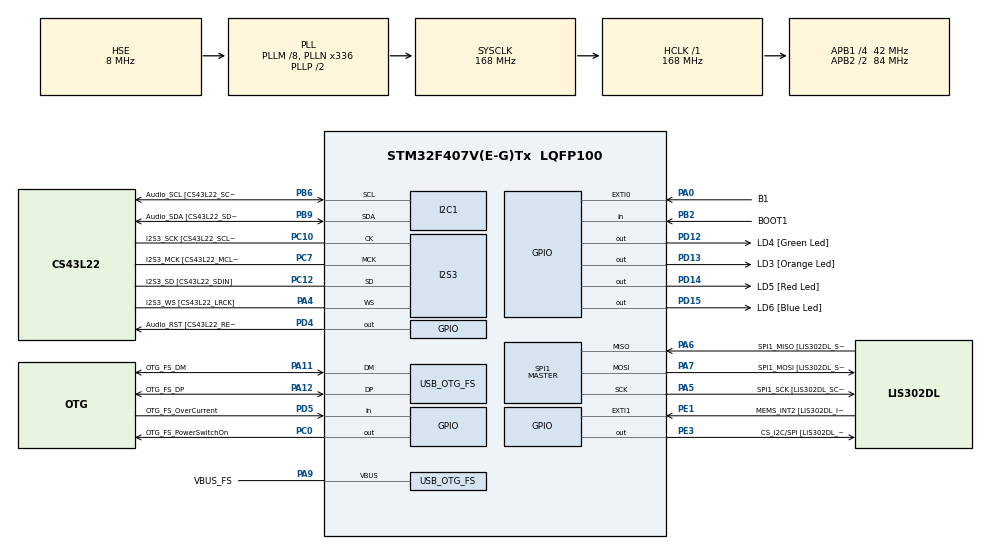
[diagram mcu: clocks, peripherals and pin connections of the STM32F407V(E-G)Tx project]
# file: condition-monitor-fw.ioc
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I2S3.AudioFreq-Half_Duplex_Master=I2S_AUDIOFREQ_96K
I2S3.ErrorAudioFreq=-2.34 %
I2S3.ErrorAudioFreq-Half_Duplex_Master=0.8 %
I2S3.FullDuplexMode=I2S_FULLDUPLEXMODE_DISABLE
I2S3.Instance=SPI$Index
I2S3.RealAudioFreq=93.75 KHz
I2S3.RealAudioFreq-Half_Duplex_Master=96.774 KHz
I2S3.VirtualMode=I2S_MODE_MASTER
Mcu.Family=STM32F4
Mcu.Name=STM32F407V(E-G)Tx
Mcu.Package=LQFP100
NVIC.EXTI0_IRQn=true\:0\:0\:false\:false\:true\:true\:true\:true
NVIC.OTG_FS_IRQn=true\:0\:0\:false\:false\:true\:true\:true\:true
NVIC.PriorityGroup=NVIC_PRIORITYGROUP_0
PA0-WKUP.GPIO_Label=B1
PA0-WKUP.Signal=GPXTI0
PA10.GPIO_Label=OTG_FS_ID
PA10.GPIO_Mode=GPIO_MODE_AF_PP
PA10.GPIO_PuPd=GPIO_NOPULL
PA10.GPIO_Speed=GPIO_SPEED_FREQ_LOW
PA10.Signal=USB_OTG_FS_ID
PA11.GPIO_Label=OTG_FS_DM
PA11.GPIO_Mode=GPIO_MODE_AF_PP
PA11.GPIO_PuPd=GPIO_NOPULL
PA11.GPIO_Speed=GPIO_SPEED_FREQ_LOW
PA11.Mode=Host_Only
PA11.Signal=USB_OTG_FS_DM
PA12.GPIO_Label=OTG_FS_DP
PA12.GPIO_Mode=GPIO_MODE_AF_PP
PA12.GPIO_PuPd=GPIO_NOPULL
PA12.GPIO_Speed=GPIO_SPEED_FREQ_LOW
PA12.Mode=Host_Only
PA12.Signal=USB_OTG_FS_DP
PA13.GPIO_Label=SWDIO
PA13.Mode=Serial_Wire
PA13.Signal=SYS_JTMS-SWDIO
PA14.GPIO_Label=SWCLK
PA14.Mode=Serial_Wire
PA14.Signal=SYS_JTCK-SWCLK
PA4.GPIO_Label=I2S3_WS [CS43L22_LRCK]
PA4.GPIO_Mode=GPIO_MODE_AF_PP
PA4.GPIO_PuPd=GPIO_NOPULL
PA4.GPIO_Speed=GPIO_SPEED_FREQ_LOW
PA4.Mode=Half_Duplex_Master
PA4.Signal=I2S3_WS
PA5.GPIO_Label=SPI1_SCK [LIS302DL_SCL/SPC]
PA5.GPIO_Mode=GPIO_MODE_AF_PP
PA5.GPIO_PuPd=GPIO_NOPULL
PA5.GPIO_Speed=GPIO_SPEED_FREQ_LOW
PA5.Mode=Full_Duplex_Master
PA5.Signal=SPI1_SCK
PA6.GPIO_Label=SPI1_MISO [LIS302DL_SDO]
PA6.GPIO_Mode=GPIO_MODE_AF_PP
PA6.GPIO_PuPd=GPIO_NOPULL
PA6.GPIO_Speed=GPIO_SPEED_FREQ_LOW
PA6.Mode=Full_Duplex_Master
PA6.Signal=SPI1_MISO
PA7.GPIO_Label=SPI1_MOSI [LIS302DL_SDA/SDI/SDO]
PA7.GPIO_Mode=GPIO_MODE_AF_PP
PA7.GPIO_PuPd=GPIO_NOPULL
PA7.GPIO_Speed=GPIO_SPEED_FREQ_LOW
PA7.Mode=Full_Duplex_Master
PA7.Signal=SPI1_MOSI
PA9.GPIO_Label=VBUS_FS
PA9.GPIO_Mode=GPIO_MODE_INPUT
PA9.GPIO_PuPd=GPIO_NOPULL
PA9.Mode=Activate_VBUS
PA9.Signal=USB_OTG_FS_VBUS
PB10.GPIO_Label=CLK_IN [MP45DT02_CLK]
PB10.GPIO_Mode=GPIO_MODE_AF_PP
PB10.GPIO_PuPd=GPIO_NOPULL
PB10.GPIO_Speed=GPIO_SPEED_FREQ_LOW
PB10.Signal=I2S2_CK
PB2.GPIO_Label=BOOT1
PB2.GPIO_Mode=GPIO_MODE_INPUT
PB2.GPIO_PuPd=GPIO_NOPULL
PB2.Signal=GPIO_Input
PB3.GPIO_Label=SWO
PB3.Signal=SYS_JTDO-SWO
PB6.GPIO_Label=Audio_SCL [CS43L22_SCL]
PB6.GPIO_Mode=GPIO_MODE_AF_OD
PB6.GPIO_Pu=GPIO_PULLUP
PB6.GPIO_PuPd=GPIO_NOPULL
PB6.GPIO_Speed=GPIO_SPEED_FREQ_LOW
PB6.Mode=I2C
PB6.Signal=I2C1_SCL
PB9.GPIO_Label=Audio_SDA [CS43L22_SDA]
PB9.GPIO_Mode=GPIO_MODE_AF_OD
PB9.GPIO_Pu=GPIO_PULLUP
PB9.GPIO_PuPd=GPIO_NOPULL
PB9.GPIO_Speed=GPIO_SPEED_FREQ_LOW
PB9.Mode=I2C
PB9.Signal=I2C1_SDA
PC0.GPIO_Label=OTG_FS_PowerSwitchOn
PC0.GPIO_PuPd=GPIO_NOPULL
PC0.GPIO_Speed=GPIO_SPEED_FREQ_LOW
PC0.PinState=GPIO_PIN_SET
PC0.Signal=GPIO_Output
PC10.GPIO_Label=I2S3_SCK [CS43L22_SCLK]
PC10.GPIO_Mode=GPIO_MODE_AF_PP
PC10.GPIO_PuPd=GPIO_NOPULL
PC10.GPIO_Speed=GPIO_SPEED_FREQ_LOW
PC10.Mode=Half_Duplex_Master
PC10.Signal=I2S3_CK
PC12.GPIO_Label=I2S3_SD [CS43L22_SDIN]
PC12.GPIO_Mode=GPIO_MODE_AF_PP
PC12.GPIO_PuPd=GPIO_NOPULL
PC12.GPIO_Speed=GPIO_SPEED_FREQ_LOW
PC12.Mode=Half_Duplex_Master
PC12.Signal=I2S3_SD
PC14-OSC32_IN.GPIO_Label=PC14-OSC32_IN
PC14-OSC32_IN.Mode=LSE-External-Oscillator
PC14-OSC32_IN.Signal=RCC_OSC32_IN
PC15-OSC32_OUT.GPIO_Label=PC15-OSC32_OUT
PC15-OSC32_OUT.Mode=LSE-External-Oscillator
PC15-OSC32_OUT.Signal=RCC_OSC32_OUT
PC3.GPIO_Label=PDM_OUT [MP45DT02_DOUT]
PC3.GPIO_Mode=GPIO_MODE_AF_PP
PC3.GPIO_PuPd=GPIO_NOPULL
PC3.GPIO_Speed=GPIO_SPEED_FREQ_LOW
PC3.Signal=I2S2_SD
PC7.GPIO_Label=I2S3_MCK [CS43L22_MCLK]
PC7.GPIO_Mode=GPIO_MODE_AF_PP
PC7.GPIO_PuPd=GPIO_NOPULL
PC7.GPIO_Speed=GPIO_SPEED_FREQ_LOW
PC7.Mode=Master_Clock_Activated
PC7.Signal=I2S3_MCK
PD12.GPIO_Label=LD4 [Green Led]
PD12.GPIO_PuPd=GPIO_NOPULL
PD12.GPIO_Speed=GPIO_SPEED_FREQ_LOW
PD12.Signal=GPIO_Output
PD13.GPIO_Label=LD3 [Orange Led]
PD13.GPIO_PuPd=GPIO_NOPULL
PD13.GPIO_Speed=GPIO_SPEED_FREQ_LOW
PD13.Signal=GPIO_Output
PD14.GPIO_Label=LD5 [Red Led]
PD14.GPIO_PuPd=GPIO_NOPULL
PD14.GPIO_Speed=GPIO_SPEED_FREQ_LOW
PD14.Signal=GPIO_Output
PD15.GPIO_Label=LD6 [Blue Led]
PD15.GPIO_PuPd=GPIO_NOPULL
PD15.GPIO_Speed=GPIO_SPEED_FREQ_LOW
PD15.Signal=GPIO_Output
PD4.GPIO_Label=Audio_RST [CS43L22_RESET]
PD4.GPIO_PuPd=GPIO_NOPULL
PD4.GPIO_Speed=GPIO_SPEED_FREQ_LOW
PD4.Signal=GPIO_Output
PD5.GPIO_Label=OTG_FS_OverCurrent
PD5.GPIO_Mode=GPIO_MODE_INPUT
PD5.GPIO_PuPd=GPIO_NOPULL
PD5.Signal=GPIO_Input
PE1.GPIO_Label=MEMS_INT2 [LIS302DL_INT2]
PE1.GPIO_ModeDefaultEXTI=GPIO_MODE_EVT_RISING
PE1.GPIO_PuPd=GPIO_NOPULL
PE1.Signal=GPXTI1
PE3.GPIO_Label=CS_I2C/SPI [LIS302DL_CS_I2C/SPI]
PE3.GPIO_PuPd=GPIO_NOPULL
PE3.GPIO_Speed=GPIO_SPEED_FREQ_LOW
PE3.Signal=GPIO_Output
PH0-OSC_IN.GPIO_Label=PH0-OSC_IN
PH0-OSC_IN.Mode=HSE-External-Oscillator
PH0-OSC_IN.Signal=RCC_OSC_IN
PH1-OSC_OUT.GPIO_Label=PH1-OSC_OUT
PH1-OSC_OUT.Mode=HSE-External-Oscillator
PH1-OSC_OUT.Signal=RCC_OSC_OUT
ProjectManager.HeapSize=0x200
ProjectManager.StackSize=0x400
ProjectManager.TargetToolchain=STM32CubeIDE
RCC.48MHZClocksFreq_Value=48000000
RCC.AHBFreq_Value=168000000
RCC.APB1CLKDivider=RCC_HCLK_DIV4
RCC.APB1Freq_Value=42000000
RCC.APB1TimFreq_Value=84000000
RCC.APB2CLKDivider=RCC_HCLK_DIV2
RCC.APB2Freq_Value=84000000
RCC.APB2TimFreq_Value=168000000
RCC.CortexFreq_Value=168000000
RCC.HCLKFreq_Value=168000000
RCC.HSE_VALUE=8000000
RCC.HSI_VALUE=16000000
RCC.PLLM=8
RCC.PLLN=336
RCC.PLLQ=7
RCC.SYSCLKFreq_VALUE=168000000
RCC.SYSCLKSource=RCC_SYSCLKSOURCE_PLLCLK
RCC.VCOOutputFreq_Value=336000000
SPI1.BaudRatePrescaler-Full_Duplex_Master=SPI_BAUDRATEPRESCALER_2
SPI1.CalculateBaudRate-Full_Duplex_Master=42.0 MBits/s
SPI1.Direction=SPI_DIRECTION_2LINES
SPI1.Mode=SPI_MODE_MASTER
SPI1.Mode-Full_Duplex_Master=SPI_MODE_MASTER
SPI1.VirtualType=VM_MASTER
USB_HOST.BSP.number=1
USB_HOST.USBH_HandleTypeDef-CDC_FS=hUsbHostFS
USB_HOST.VirtualModeFS=Cdc
USB_HOST0.BSP.STBoard=false
USB_HOST0.BSP.api=Unknown
USB_HOST0.BSP.instance=PC0
USB_HOST0.BSP.ip=GPIO
USB_HOST0.BSP.mode=Output
USB_HOST0.BSP.name=Drive_VBUS_FS
USB_HOST0.BSP.solution=PC0
USB_OTG_FS.VirtualMode=Host_Only
USB_OTG_FS.phy_itface=HCD_PHY_EMBEDDED
VP_USB_HOST_VS_USB_HOST_CDC_FS.Mode=CDC_FS
board=STM32F407G-DISC1

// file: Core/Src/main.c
/* USER CODE BEGIN Header */
/**
  ******************************************************************************
  * @file           : main.c
  * @brief          : Main program body
  ******************************************************************************
  * @attention
  *
  * Copyright (c) 2026 STMicroelectronics.
  * All rights reserved.
  *
  * This software is licensed under terms that can be found in the LICENSE file
  * in the root directory of this software component.
  * If no LICENSE file comes with this software, it is provided AS-IS.
  *
  ******************************************************************************
  */
/* USER CODE END Header */
#include "main.h"
#include "usb_host.h"
#include <stdio.h>

I2C_HandleTypeDef hi2c1;

I2S_HandleTypeDef hi2s3;

SPI_HandleTypeDef hspi1;

/* USER CODE BEGIN PV */
volatile uint8_t buttonPressed = 0;
volatile uint32_t lastPressTime = 0;
uint32_t pressCount = 0;

/* USER CODE END PV */

void SystemClock_Config(void);
static void MX_GPIO_Init(void);
static void MX_I2C1_Init(void);
static void MX_I2S3_Init(void);
static void MX_SPI1_Init(void);
void MX_USB_HOST_Process(void);

int main(void)
{

  /* MCU Configuration--------------------------------------------------------*/

  /* Reset of all peripherals, Initializes the Flash interface and the Systick. */
  HAL_Init();

  /* Configure the system clock */
  SystemClock_Config();

  /* Initialize all configured peripherals */
  MX_GPIO_Init();
  MX_I2C1_Init();
  MX_I2S3_Init();
  MX_SPI1_Init();
  MX_USB_HOST_Init();
  /* USER CODE BEGIN 2 */
  const uint16_t leds[4] = {LD4_Pin, LD3_Pin, LD5_Pin, LD6_Pin};
  uint32_t lastTick = 0;
  uint8_t idx = 0;

  /* USER CODE END 2 */

  /* Infinite loop */
  while (1)
  {
    MX_USB_HOST_Process();

    /* USER CODE BEGIN 3 */
    // Move the light every 200 milliseconds, without freezing the program
    if (HAL_GetTick() - lastTick >= 200)
    {
      lastTick = HAL_GetTick();
      HAL_GPIO_WritePin(GPIOD, LD4_Pin|LD3_Pin|LD5_Pin|LD6_Pin, GPIO_PIN_RESET);
      HAL_GPIO_WritePin(GPIOD, leds[idx], GPIO_PIN_SET);
      idx = (idx + 1) % 4;
    }

    // While the blue button is pressed, switch all four LEDs on
    if (buttonPressed)
    {
      buttonPressed = 0;
      pressCount++;
      printf("Button pressed %lu times\n", (unsigned long)pressCount);
    }
  }
  /* USER CODE END 3 */
}

void SystemClock_Config(void)
{
  RCC_OscInitTypeDef RCC_OscInitStruct = {0};
  RCC_ClkInitTypeDef RCC_ClkInitStruct = {0};

  /** Configure the main internal regulator output voltage
  */
  __HAL_RCC_PWR_CLK_ENABLE();
  __HAL_PWR_VOLTAGESCALING_CONFIG(PWR_REGULATOR_VOLTAGE_SCALE1);

  /** Initializes the RCC Oscillators according to the specified parameters
  * in the RCC_OscInitTypeDef structure.
  */
  RCC_OscInitStruct.OscillatorType = RCC_OSCILLATORTYPE_HSE;
  RCC_OscInitStruct.HSEState = RCC_HSE_ON;
  RCC_OscInitStruct.PLL.PLLState = RCC_PLL_ON;
  RCC_OscInitStruct.PLL.PLLSource = RCC_PLLSOURCE_HSE;
  RCC_OscInitStruct.PLL.PLLM = 8;
  RCC_OscInitStruct.PLL.PLLN = 336;
  RCC_OscInitStruct.PLL.PLLP = RCC_PLLP_DIV2;
  RCC_OscInitStruct.PLL.PLLQ = 7;
  if (HAL_RCC_OscConfig(&RCC_OscInitStruct) != HAL_OK)
  {
    Error_Handler();
  }

  /** Initializes the CPU, AHB and APB buses clocks
  */
  RCC_ClkInitStruct.ClockType = RCC_CLOCKTYPE_HCLK|RCC_CLOCKTYPE_SYSCLK
                              |RCC_CLOCKTYPE_PCLK1|RCC_CLOCKTYPE_PCLK2;
  RCC_ClkInitStruct.SYSCLKSource = RCC_SYSCLKSOURCE_PLLCLK;
  RCC_ClkInitStruct.AHBCLKDivider = RCC_SYSCLK_DIV1;
  RCC_ClkInitStruct.APB1CLKDivider = RCC_HCLK_DIV4;
  RCC_ClkInitStruct.APB2CLKDivider = RCC_HCLK_DIV2;

  if (HAL_RCC_ClockConfig(&RCC_ClkInitStruct, FLASH_LATENCY_5) != HAL_OK)
  {
    Error_Handler();
  }
}

static void MX_I2C1_Init(void)
{

  hi2c1.Instance = I2C1;
  hi2c1.Init.ClockSpeed = 100000;
  hi2c1.Init.DutyCycle = I2C_DUTYCYCLE_2;
  hi2c1.Init.OwnAddress1 = 0;
  hi2c1.Init.AddressingMode = I2C_ADDRESSINGMODE_7BIT;
  hi2c1.Init.DualAddressMode = I2C_DUALADDRESS_DISABLE;
  hi2c1.Init.OwnAddress2 = 0;
  hi2c1.Init.GeneralCallMode = I2C_GENERALCALL_DISABLE;
  hi2c1.Init.NoStretchMode = I2C_NOSTRETCH_DISABLE;
  if (HAL_I2C_Init(&hi2c1) != HAL_OK)
  {
    Error_Handler();
  }

}

static void MX_I2S3_Init(void)
{

  hi2s3.Instance = SPI3;
  hi2s3.Init.Mode = I2S_MODE_MASTER_TX;
  hi2s3.Init.Standard = I2S_STANDARD_PHILIPS;
  hi2s3.Init.DataFormat = I2S_DATAFORMAT_16B;
  hi2s3.Init.MCLKOutput = I2S_MCLKOUTPUT_ENABLE;
  hi2s3.Init.AudioFreq = I2S_AUDIOFREQ_96K;
  hi2s3.Init.CPOL = I2S_CPOL_LOW;
  hi2s3.Init.ClockSource = I2S_CLOCK_PLL;
  hi2s3.Init.FullDuplexMode = I2S_FULLDUPLEXMODE_DISABLE;
  if (HAL_I2S_Init(&hi2s3) != HAL_OK)
  {
    Error_Handler();
  }

}

static void MX_SPI1_Init(void)
{

  /* SPI1 parameter configuration*/
  hspi1.Instance = SPI1;
  hspi1.Init.Mode = SPI_MODE_MASTER;
  hspi1.Init.Direction = SPI_DIRECTION_2LINES;
  hspi1.Init.DataSize = SPI_DATASIZE_8BIT;
  hspi1.Init.CLKPolarity = SPI_POLARITY_LOW;
  hspi1.Init.CLKPhase = SPI_PHASE_1EDGE;
  hspi1.Init.NSS = SPI_NSS_SOFT;
  hspi1.Init.BaudRatePrescaler = SPI_BAUDRATEPRESCALER_2;
  hspi1.Init.FirstBit = SPI_FIRSTBIT_MSB;
  hspi1.Init.TIMode = SPI_TIMODE_DISABLE;
  hspi1.Init.CRCCalculation = SPI_CRCCALCULATION_DISABLE;
  hspi1.Init.CRCPolynomial = 10;
  if (HAL_SPI_Init(&hspi1) != HAL_OK)
  {
    Error_Handler();
  }

}

static void MX_GPIO_Init(void)
{
  GPIO_InitTypeDef GPIO_InitStruct = {0};

  /* GPIO Ports Clock Enable */
  __HAL_RCC_GPIOE_CLK_ENABLE();
  __HAL_RCC_GPIOC_CLK_ENABLE();
  __HAL_RCC_GPIOH_CLK_ENABLE();
  __HAL_RCC_GPIOA_CLK_ENABLE();
  __HAL_RCC_GPIOB_CLK_ENABLE();
  __HAL_RCC_GPIOD_CLK_ENABLE();

  /*Configure GPIO pin Output Level */
  HAL_GPIO_WritePin(CS_I2C_SPI_GPIO_Port, CS_I2C_SPI_Pin, GPIO_PIN_RESET);

  /*Configure GPIO pin Output Level */
  HAL_GPIO_WritePin(OTG_FS_PowerSwitchOn_GPIO_Port, OTG_FS_PowerSwitchOn_Pin, GPIO_PIN_SET);

  /*Configure GPIO pin Output Level */
  HAL_GPIO_WritePin(GPIOD, LD4_Pin|LD3_Pin|LD5_Pin|LD6_Pin
                          |Audio_RST_Pin, GPIO_PIN_RESET);

  /*Configure GPIO pin : CS_I2C_SPI_Pin */
  GPIO_InitStruct.Pin = CS_I2C_SPI_Pin;
  GPIO_InitStruct.Mode = GPIO_MODE_OUTPUT_PP;
  GPIO_InitStruct.Pull = GPIO_NOPULL;
  GPIO_InitStruct.Speed = GPIO_SPEED_FREQ_LOW;
  HAL_GPIO_Init(CS_I2C_SPI_GPIO_Port, &GPIO_InitStruct);

  /*Configure GPIO pin : OTG_FS_PowerSwitchOn_Pin */
  GPIO_InitStruct.Pin = OTG_FS_PowerSwitchOn_Pin;
  GPIO_InitStruct.Mode = GPIO_MODE_OUTPUT_PP;
  GPIO_InitStruct.Pull = GPIO_NOPULL;
  GPIO_InitStruct.Speed = GPIO_SPEED_FREQ_LOW;
  HAL_GPIO_Init(OTG_FS_PowerSwitchOn_GPIO_Port, &GPIO_InitStruct);

  /*Configure GPIO pin : PDM_OUT_Pin */
  GPIO_InitStruct.Pin = PDM_OUT_Pin;
  GPIO_InitStruct.Mode = GPIO_MODE_AF_PP;
  GPIO_InitStruct.Pull = GPIO_NOPULL;
  GPIO_InitStruct.Speed = GPIO_SPEED_FREQ_LOW;
  GPIO_InitStruct.Alternate = GPIO_AF5_SPI2;
  HAL_GPIO_Init(PDM_OUT_GPIO_Port, &GPIO_InitStruct);

  /*Configure GPIO pin : B1_Pin */
  GPIO_InitStruct.Pin = B1_Pin;
  GPIO_InitStruct.Mode = GPIO_MODE_IT_RISING;
  GPIO_InitStruct.Pull = GPIO_NOPULL;
  HAL_GPIO_Init(B1_GPIO_Port, &GPIO_InitStruct);

  /*Configure GPIO pin : BOOT1_Pin */
  GPIO_InitStruct.Pin = BOOT1_Pin;
  GPIO_InitStruct.Mode = GPIO_MODE_INPUT;
  GPIO_InitStruct.Pull = GPIO_NOPULL;
  HAL_GPIO_Init(BOOT1_GPIO_Port, &GPIO_InitStruct);

  /*Configure GPIO pin : CLK_IN_Pin */
  GPIO_InitStruct.Pin = CLK_IN_Pin;
  GPIO_InitStruct.Mode = GPIO_MODE_AF_PP;
  GPIO_InitStruct.Pull = GPIO_NOPULL;
  GPIO_InitStruct.Speed = GPIO_SPEED_FREQ_LOW;
  GPIO_InitStruct.Alternate = GPIO_AF5_SPI2;
  HAL_GPIO_Init(CLK_IN_GPIO_Port, &GPIO_InitStruct);

  /*Configure GPIO pins : LD4_Pin LD3_Pin LD5_Pin LD6_Pin
                           Audio_RST_Pin */
  GPIO_InitStruct.Pin = LD4_Pin|LD3_Pin|LD5_Pin|LD6_Pin
                          |Audio_RST_Pin;
  GPIO_InitStruct.Mode = GPIO_MODE_OUTPUT_PP;
  GPIO_InitStruct.Pull = GPIO_NOPULL;
  GPIO_InitStruct.Speed = GPIO_SPEED_FREQ_LOW;
  HAL_GPIO_Init(GPIOD, &GPIO_InitStruct);

  /*Configure GPIO pin : OTG_FS_OverCurrent_Pin */
  GPIO_InitStruct.Pin = OTG_FS_OverCurrent_Pin;
  GPIO_InitStruct.Mode = GPIO_MODE_INPUT;
  GPIO_InitStruct.Pull = GPIO_NOPULL;
  HAL_GPIO_Init(OTG_FS_OverCurrent_GPIO_Port, &GPIO_InitStruct);

  /*Configure GPIO pin : MEMS_INT2_Pin */
  GPIO_InitStruct.Pin = MEMS_INT2_Pin;
  GPIO_InitStruct.Mode = GPIO_MODE_EVT_RISING;
  GPIO_InitStruct.Pull = GPIO_NOPULL;
  HAL_GPIO_Init(MEMS_INT2_GPIO_Port, &GPIO_InitStruct);

  /* EXTI interrupt init*/
  HAL_NVIC_SetPriority(EXTI0_IRQn, 0, 0);
  HAL_NVIC_EnableIRQ(EXTI0_IRQn);

}

/* USER CODE BEGIN 4 */
// Makes printf() send its text out through the SWO wire (pin PB3)
int _write(int file, char *ptr, int len)
{
  for (int i = 0; i < len; i++)
  {
    ITM_SendChar(*ptr++);
  }
  return len;
}

// The chip calls this by itself when the button interrupt happens
void HAL_GPIO_EXTI_Callback(uint16_t GPIO_Pin)
{
  if (GPIO_Pin == GPIO_PIN_0)
  {
    uint32_t now = HAL_GetTick();
    if (now - lastPressTime > 50)   // ignore bounce within 50 ms
    {
      lastPressTime = now;
      buttonPressed = 1;            // raise the flag
    }
  }
}

/* USER CODE END 4 */

void Error_Handler(void)
{
  __disable_irq();
  while (1)
  {
  }
}
